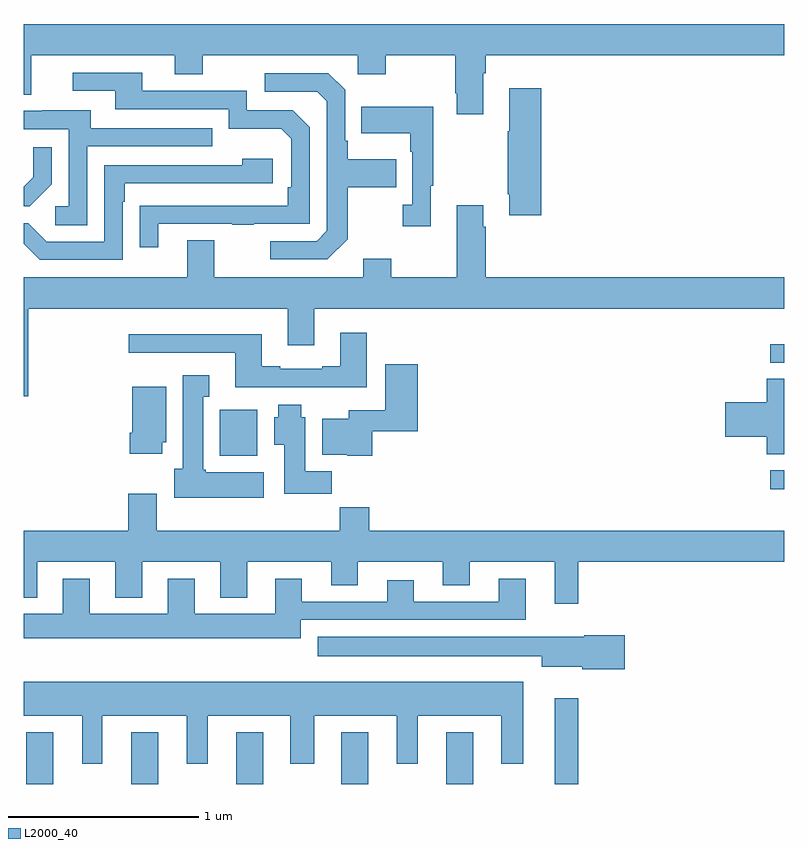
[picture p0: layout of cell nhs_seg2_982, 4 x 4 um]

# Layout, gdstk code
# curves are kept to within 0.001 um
import gdstk
lib = gdstk.Library(unit=1e-6, precision=1e-09)
def R(c, l, rs):  # rectangles x0, y0, x1, y1
    for r in rs: c.add(gdstk.rectangle(r[:2], r[2:], *l))
def A(c, l, x, y, w, h, nx, ny, dx, dy):  # array of equal rectangles
    R(c, l, [(x+i*dx, y+j*dy, x+i*dx+w, y+j*dy+h) for i in range(nx) for j in range(ny)])
def P(c, l, *ps):  # polygons
    for p in ps: c.add(gdstk.Polygon(p, *l))
L2000_40 = (2000, 40)

nhs_seg2_982 = lib.new_cell('nhs_seg2_982')
A(nhs_seg2_982, L2000_40, 161.015, 647.8, 0.14, 0.273, 5, 1, 0.552, 0)
R(nhs_seg2_982, L2000_40, [(163.793,647.8,163.915,648.25), (164.925,649.351,165,649.449), (162.032,649.526,162.229,649.768), (164.925,650.016,165,650.112)])
P(nhs_seg2_982, L2000_40, [(163.417,651.536),(163.43,651.536),(163.43,651.632),(165,651.632),(165,651.796),(161,651.796),(161,651.424),(161.041,651.424),(161.041,651.632),(161.795,651.632),(161.795,651.533),(161.943,651.533),(161.943,651.632),(162.756,651.632),(162.756,651.533),(162.903,651.533),(162.903,651.632),(163.27,651.632),(163.27,651.433),(163.277,651.433),(163.277,651.321),(163.417,651.321)],
  [(161.707,650.745),(162.097,650.745),(162.097,650.74),(162.209,650.74),(162.209,650.745),(162.504,650.745),(162.504,651.252),(162.414,651.342),(162.174,651.342),(162.174,651.444),(161.623,651.444),(161.623,651.54),(161.259,651.54),(161.259,651.444),(161.483,651.444),(161.483,651.348),(162.078,651.348),(162.078,651.245),(162.355,651.245),(162.408,651.192),(162.408,650.938),(162.388,650.938),(162.388,650.841),(161.611,650.84),(161.611,650.622),(161.707,650.622)],
  [(162.703,650.665),(162.703,650.938),(162.959,650.938),(162.959,651.085),(162.703,651.085),(162.703,651.181),(162.69,651.181),(162.69,651.45),(162.603,651.537),(162.267,651.537),(162.267,651.441),(162.543,651.441),(162.594,651.39),(162.594,650.709),(162.54,650.655),(162.297,650.655),(162.297,650.559),(162.597,650.559)],
  [(163.721,651.457),(163.553,651.457),(163.553,651.233),(163.546,651.233),(163.546,650.902),(163.553,650.902),(163.553,650.79),(163.721,650.79)],
  [(163.141,650.945),(163.153,650.945),(163.153,651.361),(162.775,651.361),(162.775,651.221),(163.032,651.221),(163.032,651.125),(163.044,651.125),(163.044,650.846),(162.993,650.846),(162.993,650.733),(163.141,650.733)],
  [(161.334,651.153),(161.993,651.153),(161.993,651.249),(161.353,651.249),(161.353,651.343),(161.099,651.343),(161.099,651.339),(161,651.339),(161,651.243),(161.238,651.243),(161.238,650.838),(161.166,650.838),(161.166,650.737),(161.334,650.737)],
  [(161.148,650.954),(161.148,651.148),(161.051,651.148),(161.051,650.991),(161,650.94),(161,650.838),(161.032,650.838)],
  [(161.52,650.861),(161.533,650.861),(161.533,650.958),(162.31,650.958),(162.31,651.088),(162.149,651.088),(162.149,651.054),(161.424,651.054),(161.424,650.652),(161.121,650.652),(161.025,650.748),(161,650.748),(161,650.641),(161.085,650.556),(161.52,650.556)],
  [(161.024,650.3),(162.389,650.3),(162.389,650.106),(162.529,650.106),(162.529,650.3),(165,650.3),(165,650.464),(163.43,650.464),(163.43,650.729),(163.417,650.729),(163.417,650.842),(163.277,650.842),(163.277,650.464),(162.933,650.464),(162.933,650.563),(162.785,650.563),(162.785,650.464),(162.001,650.464),(162.001,650.659),(161.861,650.659),(161.861,650.464),(161,650.464),(161,649.839),(161.024,649.839)],
  [(162.805,650.173),(162.665,650.173),(162.665,649.996),(162.569,649.996),(162.569,649.983),(162.349,649.983),(162.349,649.996),(162.253,649.996),(162.253,650.164),(161.553,650.164),(161.553,650.067),(162.113,650.067),(162.113,649.887),(162.805,649.887)],
  [(162.833,649.655),(163.073,649.655),(163.073,650.008),(162.902,650.008),(162.902,649.765),(162.71,649.765),(162.71,649.72),(162.569,649.72),(162.569,649.532),(162.702,649.532),(162.702,649.526),(162.833,649.526)],
  [(162.262,649.438),(161.958,649.438),(161.958,649.452),(161.944,649.452),(161.944,649.835),(161.977,649.835),(161.977,649.948),(161.837,649.948),(161.837,649.458),(161.792,649.458),(161.792,649.304),(162.262,649.304)],
  [(165,649.931),(164.906,649.931),(164.906,649.808),(164.688,649.808),(164.688,649.625),(164.906,649.625),(164.906,649.534),(165,649.534)],
  [(161.728,649.596),(161.749,649.596),(161.749,649.888),(161.57,649.888),(161.57,649.648),(161.558,649.648),(161.558,649.536),(161.728,649.536)],
  [(162.62,649.444),(162.481,649.444),(162.481,649.728),(162.46,649.728),(162.46,649.795),(162.338,649.795),(162.338,649.728),(162.317,649.728),(162.317,649.585),(162.371,649.585),(162.371,649.326),(162.62,649.326)],
  [(163.915,648.968),(165,648.968),(165,649.132),(162.818,649.132),(162.818,649.256),(162.661,649.256),(162.661,649.132),(161.701,649.132),(161.701,649.327),(161.549,649.327),(161.549,649.132),(161,649.132),(161,648.779),(161.071,648.779),(161.071,648.968),(161.483,648.968),(161.483,648.779),(161.623,648.779),(161.623,648.968),(162.035,648.968),(162.035,648.779),(162.175,648.779),(162.175,648.968),(162.617,648.968),(162.617,648.844),(162.757,648.844),(162.757,648.968),(163.205,648.968),(163.205,648.844),(163.345,648.844),(163.345,648.968),(163.793,648.968),(163.793,648.747),(163.915,648.747)],
  [(162.457,648.663),(163.639,648.663),(163.639,648.88),(163.499,648.88),(163.499,648.759),(163.051,648.759),(163.051,648.871),(162.911,648.871),(162.911,648.759),(162.463,648.759),(162.463,648.88),(162.323,648.88),(162.323,648.694),(161.899,648.694),(161.899,648.88),(161.759,648.88),(161.759,648.694),(161.347,648.694),(161.347,648.88),(161.207,648.88),(161.207,648.694),(161,648.694),(161,648.566),(162.457,648.566)],
  [(164.161,648.582),(163.948,648.582),(163.948,648.574),(162.546,648.574),(162.546,648.473),(163.724,648.473),(163.724,648.416),(163.938,648.416),(163.938,648.404),(164.161,648.404)],
  [(161.413,648.158),(161.858,648.158),(161.858,647.907),(161.968,647.907),(161.968,648.158),(162.401,648.158),(162.401,647.907),(162.529,647.907),(162.529,648.158),(162.962,648.158),(162.962,647.907),(163.072,647.907),(163.072,648.158),(163.511,648.158),(163.511,647.907),(163.627,647.907),(163.627,648.337),(161,648.337),(161,648.158),(161.309,648.158),(161.309,647.907),(161.413,647.907)])

lib.write_gds('nhs_seg2_982.gds')
